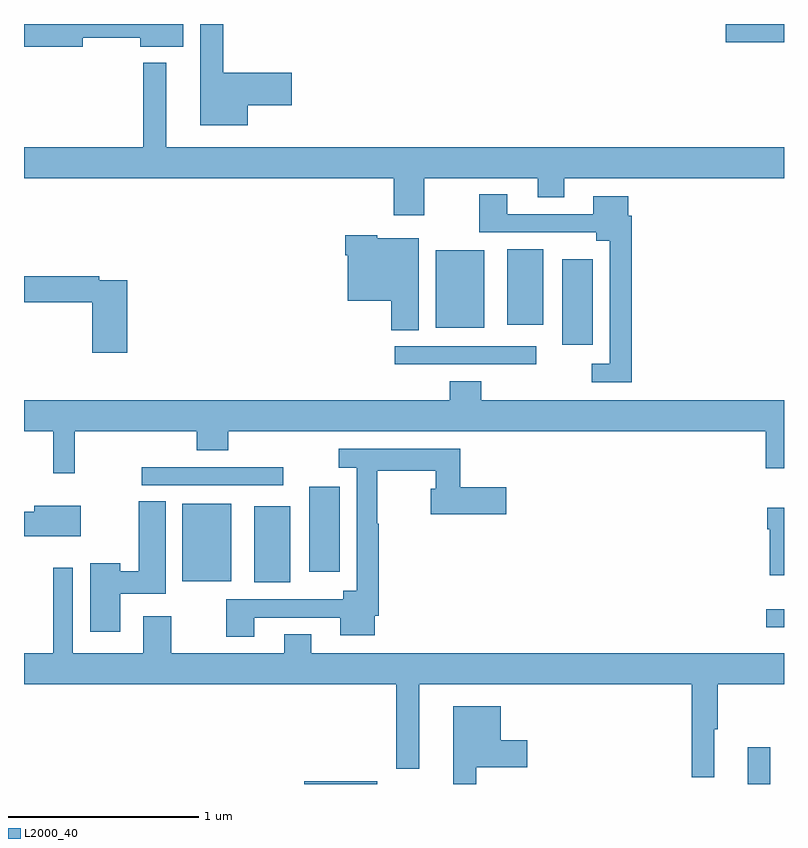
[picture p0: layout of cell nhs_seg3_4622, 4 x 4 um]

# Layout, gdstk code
import gdstk
lib = gdstk.Library(unit=1e-6, precision=1e-09)
def R(c, l, rs):  # rectangles x0, y0, x1, y1
    for r in rs: c.add(gdstk.rectangle(r[:2], r[2:], *l))
def P(c, l, *ps):  # polygons
    for p in ps: c.add(gdstk.Polygon(p, *l))
L2000_40 = (2000, 40)

nhs_seg3_4622 = lib.new_cell('nhs_seg3_4622')
R(nhs_seg3_4622, L2000_40, [(360.474,692.4,360.858,692.414), (362.81,692.4,362.927,692.593), (362.907,693.224,363,693.321), (360.212,693.461,360.4,693.862), (359.834,693.467,360.091,693.874), (360.5,693.516,360.661,693.964), (359.619,693.972,360.364,694.068), (360.951,694.608,361.696,694.704), (361.832,694.713,361.993,695.161), (361.166,694.802,361.423,695.209), (361.544,694.817,361.732,695.215), (362.694,696.305,363,696.4)])
P(nhs_seg3_4622, L2000_40, [(360.178,695.972),(360.409,695.972),(360.409,696.143),(360.049,696.143),(360.049,696.4),(359.927,696.4),(359.927,695.867),(360.178,695.867)],
  [(359.308,696.328),(359.612,696.328),(359.612,696.281),(359.839,696.281),(359.839,696.4),(359,696.4),(359,696.281),(359.308,696.281)],
  [(361.107,695.588),(361.703,695.588),(361.703,695.489),(361.843,695.489),(361.843,695.588),(363,695.588),(363,695.752),(359.749,695.752),(359.749,696.196),(359.628,696.196),(359.628,695.752),(359,695.752),(359,695.588),(360.947,695.588),(360.947,695.394),(361.107,695.394)],
  [(362.198,695.39),(362.179,695.39),(362.179,695.494),(361.997,695.494),(361.997,695.4),(361.543,695.4),(361.543,695.503),(361.396,695.503),(361.396,695.304),(362.012,695.304),(362.012,695.258),(362.082,695.258),(362.082,694.611),(361.989,694.611),(361.989,694.515),(362.198,694.515)],
  [(361.078,695.272),(360.858,695.272),(360.858,695.287),(360.692,695.287),(360.692,695.183),(360.704,695.183),(360.704,694.943),(360.932,694.943),(360.932,694.789),(361.078,694.789)],
  [(359.543,695.052),(359.396,695.052),(359.396,695.072),(359,695.072),(359,694.936),(359.36,694.936),(359.36,694.671),(359.543,694.671)],
  [(359.267,694.256),(359.909,694.256),(359.909,694.157),(360.074,694.157),(360.074,694.256),(362.903,694.256),(362.903,694.062),(363,694.062),(363,694.42),(361.406,694.42),(361.406,694.519),(361.241,694.519),(361.241,694.42),(359,694.42),(359,694.256),(359.153,694.256),(359.153,694.035),(359.267,694.035)],
  [(360.211,693.276),(360.665,693.276),(360.665,693.182),(360.847,693.182),(360.847,693.286),(360.866,693.286),(360.866,693.771),(360.859,693.771),(360.859,694.048),(361.167,694.048),(361.167,693.955),(361.141,693.955),(361.141,693.821),(361.537,693.821),(361.537,693.963),(361.295,693.963),(361.295,694.164),(360.657,694.164),(360.657,694.064),(360.75,694.064),(360.75,693.418),(360.68,693.418),(360.68,693.372),(360.064,693.372),(360.064,693.174),(360.211,693.174)],
  [(359.506,693.401),(359.746,693.401),(359.746,693.887),(359.605,693.887),(359.605,693.519),(359.506,693.519),(359.506,693.562),(359.348,693.562),(359.348,693.201),(359.506,693.201)],
  [(359.299,693.865),(359.054,693.865),(359.054,693.833),(359,693.833),(359,693.704),(359.299,693.704)],
  [(363,693.853),(362.912,693.853),(362.912,693.74),(362.924,693.74),(362.924,693.5),(363,693.5)],
  [(359.627,693.283),(359.627,693.088),(359.257,693.088),(359.257,693.538),(359.153,693.538),(359.153,693.088),(359,693.088),(359,692.924),(360.96,692.924),(360.96,692.48),(361.081,692.48),(361.081,692.924),(362.515,692.924),(362.515,692.436),(362.633,692.436),(362.633,692.688),(362.651,692.688),(362.651,692.924),(363,692.924),(363,693.088),(360.511,693.088),(360.511,693.187),(360.371,693.187),(360.371,693.088),(359.775,693.088),(359.775,693.283)],
  [(361.381,692.489),(361.648,692.489),(361.648,692.631),(361.51,692.631),(361.51,692.809),(361.259,692.809),(361.259,692.4),(361.381,692.4)])

lib.write_gds('nhs_seg3_4622.gds')
